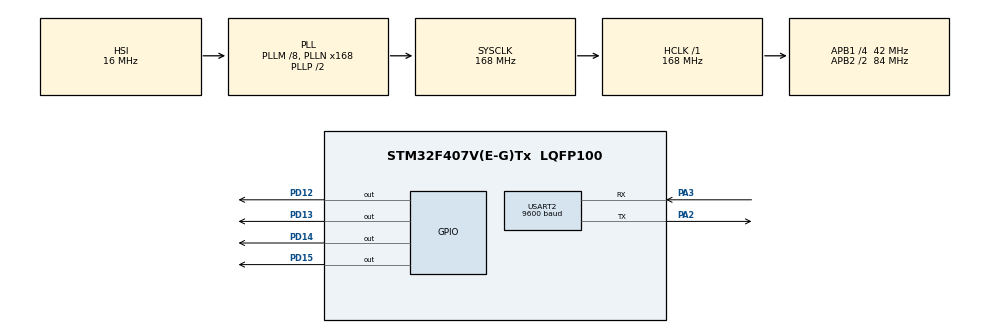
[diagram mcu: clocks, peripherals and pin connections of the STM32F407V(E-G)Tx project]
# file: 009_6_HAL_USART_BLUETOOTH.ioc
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Mcu.Family=STM32F4
Mcu.Name=STM32F407V(E-G)Tx
Mcu.Package=LQFP100
NVIC.PriorityGroup=NVIC_PRIORITYGROUP_4
PA2.Mode=Asynchronous
PA2.Signal=USART2_TX
PA3.Mode=Asynchronous
PA3.Signal=USART2_RX
PD12.Signal=GPIO_Output
PD13.Signal=GPIO_Output
PD14.Signal=GPIO_Output
PD15.Signal=GPIO_Output
ProjectManager.HeapSize=0x200
ProjectManager.StackSize=0x400
ProjectManager.TargetToolchain=STM32CubeIDE
RCC.48MHZClocksFreq_Value=84000000
RCC.AHBFreq_Value=168000000
RCC.APB1CLKDivider=RCC_HCLK_DIV4
RCC.APB1Freq_Value=42000000
RCC.APB1TimFreq_Value=84000000
RCC.APB2CLKDivider=RCC_HCLK_DIV2
RCC.APB2Freq_Value=84000000
RCC.APB2TimFreq_Value=168000000
RCC.CortexFreq_Value=168000000
RCC.HCLKFreq_Value=168000000
RCC.HSE_VALUE=25000000
RCC.HSI_VALUE=16000000
RCC.LSE_VALUE=32768
RCC.PLLM=8
RCC.PLLN=168
RCC.SYSCLKFreq_VALUE=168000000
RCC.SYSCLKSource=RCC_SYSCLKSOURCE_PLLCLK
RCC.VCOOutputFreq_Value=336000000
USART2.BaudRate=9600
USART2.VirtualMode=VM_ASYNC
board=custom

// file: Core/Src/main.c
/* USER CODE BEGIN Header */
/**
  ******************************************************************************
  * @file           : main.c
  * @brief          : Main program body
  ******************************************************************************
  * @attention
  *
  * Copyright (c) 2024 STMicroelectronics.
  * All rights reserved.
  *
  * This software is licensed under terms that can be found in the LICENSE file
  * in the root directory of this software component.
  * If no LICENSE file comes with this software, it is provided AS-IS.
  *
  ******************************************************************************
  */
/* USER CODE END Header */
#include "main.h"

/* USER CODE BEGIN Includes */
#include <stdbool.h>
#include <stdio.h>
/* USER CODE END Includes */

UART_HandleTypeDef huart2;

/* USER CODE BEGIN PV */

char rx_buffer[50], tx_buffer[50];
bool led_state = false;

/* USER CODE END PV */

void SystemClock_Config(void);
static void MX_GPIO_Init(void);
static void MX_USART2_UART_Init(void);

int main(void)
{

  /* MCU Configuration--------------------------------------------------------*/

  /* Reset of all peripherals, Initializes the Flash interface and the Systick. */
  HAL_Init();

  /* Configure the system clock */
  SystemClock_Config();

  /* Initialize all configured peripherals */
  MX_GPIO_Init();
  MX_USART2_UART_Init();

  /* Infinite loop */
  while (1)
  {

    /* USER CODE BEGIN 3 */
	  HAL_UART_Receive(&huart2, (uint8_t*)rx_buffer, 50, 100);

	  if(	rx_buffer[0] == 'l' &&
			rx_buffer[1] == 'e' &&
			rx_buffer[2] == 'd' &&
			rx_buffer[3] == ' ' &&
			rx_buffer[4] == 'o' &&
			rx_buffer[5] == 'n'
	  )
	  {
		  HAL_GPIO_WritePin(GPIOD, GPIO_PIN_12 | GPIO_PIN_13 | GPIO_PIN_14 | GPIO_PIN_15, GPIO_PIN_SET);
		  if(led_state != true)
		  {
			  HAL_UART_Transmit(&huart2, (uint8_t*)tx_buffer, sprintf(tx_buffer,"Ledler yandi.\n"), 100);
			  led_state = true;
		  }
	  }

	  else if(	rx_buffer[0] == 'l' &&
			  	rx_buffer[1] == 'e' &&
				rx_buffer[2] == 'd' &&
				rx_buffer[3] == ' ' &&
				rx_buffer[4] == 'o' &&
				rx_buffer[5] == 'f'	&&
				rx_buffer[6] == 'f'
	  )
	  {
		  HAL_GPIO_WritePin(GPIOD, GPIO_PIN_12 | GPIO_PIN_13 | GPIO_PIN_14 | GPIO_PIN_15, GPIO_PIN_RESET);
		  if(led_state != false)
		  {
			  HAL_UART_Transmit(&huart2, (uint8_t*)tx_buffer, sprintf(tx_buffer,"Ledler sondu.\n"), 100);
			  led_state = false;
		  }
	  }
  }
  /* USER CODE END 3 */
}

void SystemClock_Config(void)
{
  RCC_OscInitTypeDef RCC_OscInitStruct = {0};
  RCC_ClkInitTypeDef RCC_ClkInitStruct = {0};

  /** Configure the main internal regulator output voltage
  */
  __HAL_RCC_PWR_CLK_ENABLE();
  __HAL_PWR_VOLTAGESCALING_CONFIG(PWR_REGULATOR_VOLTAGE_SCALE1);

  /** Initializes the RCC Oscillators according to the specified parameters
  * in the RCC_OscInitTypeDef structure.
  */
  RCC_OscInitStruct.OscillatorType = RCC_OSCILLATORTYPE_HSI;
  RCC_OscInitStruct.HSIState = RCC_HSI_ON;
  RCC_OscInitStruct.HSICalibrationValue = RCC_HSICALIBRATION_DEFAULT;
  RCC_OscInitStruct.PLL.PLLState = RCC_PLL_ON;
  RCC_OscInitStruct.PLL.PLLSource = RCC_PLLSOURCE_HSI;
  RCC_OscInitStruct.PLL.PLLM = 8;
  RCC_OscInitStruct.PLL.PLLN = 168;
  RCC_OscInitStruct.PLL.PLLP = RCC_PLLP_DIV2;
  RCC_OscInitStruct.PLL.PLLQ = 4;
  if (HAL_RCC_OscConfig(&RCC_OscInitStruct) != HAL_OK)
  {
    Error_Handler();
  }

  /** Initializes the CPU, AHB and APB buses clocks
  */
  RCC_ClkInitStruct.ClockType = RCC_CLOCKTYPE_HCLK|RCC_CLOCKTYPE_SYSCLK
                              |RCC_CLOCKTYPE_PCLK1|RCC_CLOCKTYPE_PCLK2;
  RCC_ClkInitStruct.SYSCLKSource = RCC_SYSCLKSOURCE_PLLCLK;
  RCC_ClkInitStruct.AHBCLKDivider = RCC_SYSCLK_DIV1;
  RCC_ClkInitStruct.APB1CLKDivider = RCC_HCLK_DIV4;
  RCC_ClkInitStruct.APB2CLKDivider = RCC_HCLK_DIV2;

  if (HAL_RCC_ClockConfig(&RCC_ClkInitStruct, FLASH_LATENCY_5) != HAL_OK)
  {
    Error_Handler();
  }
}

static void MX_USART2_UART_Init(void)
{

  huart2.Instance = USART2;
  huart2.Init.BaudRate = 9600;
  huart2.Init.WordLength = UART_WORDLENGTH_8B;
  huart2.Init.StopBits = UART_STOPBITS_1;
  huart2.Init.Parity = UART_PARITY_NONE;
  huart2.Init.Mode = UART_MODE_TX_RX;
  huart2.Init.HwFlowCtl = UART_HWCONTROL_NONE;
  huart2.Init.OverSampling = UART_OVERSAMPLING_16;
  if (HAL_UART_Init(&huart2) != HAL_OK)
  {
    Error_Handler();
  }

}

static void MX_GPIO_Init(void)
{
  GPIO_InitTypeDef GPIO_InitStruct = {0};

  /* GPIO Ports Clock Enable */
  __HAL_RCC_GPIOA_CLK_ENABLE();
  __HAL_RCC_GPIOD_CLK_ENABLE();

  /*Configure GPIO pin Output Level */
  HAL_GPIO_WritePin(GPIOD, GPIO_PIN_12|GPIO_PIN_13|GPIO_PIN_14|GPIO_PIN_15, GPIO_PIN_RESET);

  /*Configure GPIO pins : PD12 PD13 PD14 PD15 */
  GPIO_InitStruct.Pin = GPIO_PIN_12|GPIO_PIN_13|GPIO_PIN_14|GPIO_PIN_15;
  GPIO_InitStruct.Mode = GPIO_MODE_OUTPUT_PP;
  GPIO_InitStruct.Pull = GPIO_NOPULL;
  GPIO_InitStruct.Speed = GPIO_SPEED_FREQ_LOW;
  HAL_GPIO_Init(GPIOD, &GPIO_InitStruct);

}

void Error_Handler(void)
{
  __disable_irq();
  while (1)
  {
  }
}
